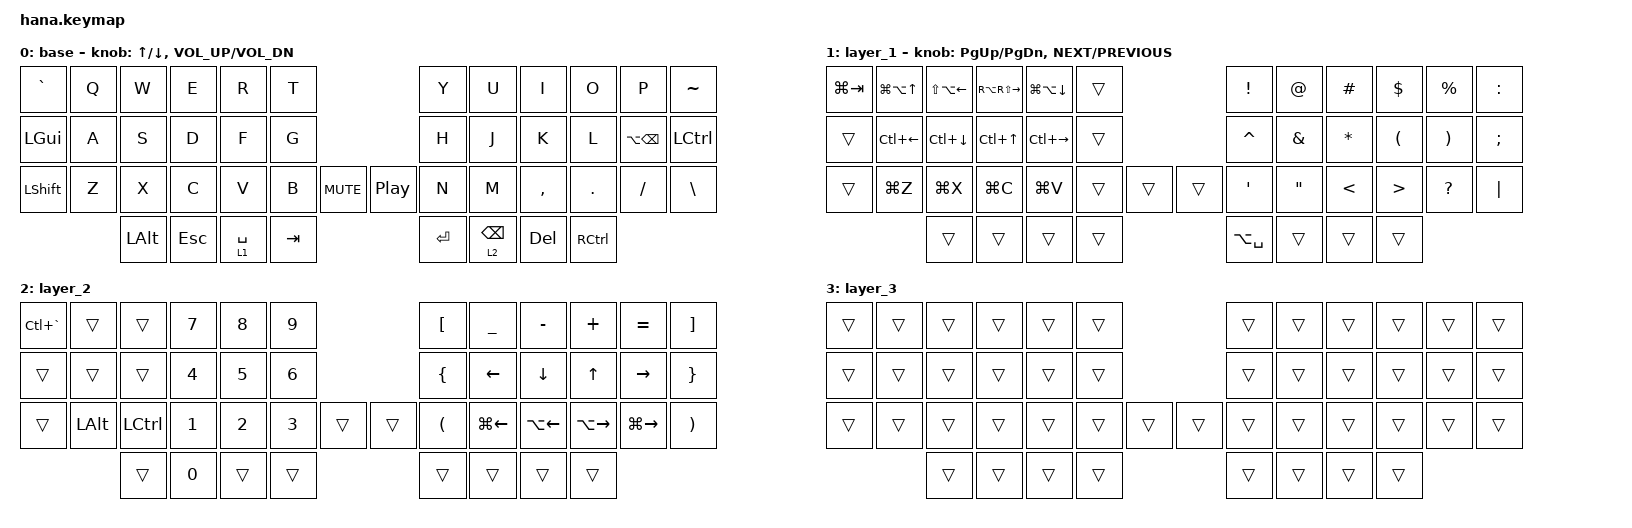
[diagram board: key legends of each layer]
#include <behaviors.dtsi>
#include <dt-bindings/zmk/keys.h>

/ {
    keymap {
        compatible = "zmk,keymap";

        default_layer {
            display-name = "base";
            sensor-bindings =
                <&inc_dec_kp UP_ARROW DOWN>,
                <&inc_dec_kp C_VOL_UP C_VOL_DN>;

            bindings = <
&kp GRAVE  &kp Q  &kp W     &kp E    &kp R        &kp T                          &kp Y      &kp U            &kp I       &kp O              &kp P         &kp TILDE
&kp LGUI   &kp A  &kp S     &kp D    &kp F        &kp G                          &kp H      &kp J            &kp K       &kp L              &kp LA(BSPC)  &kp LEFT_CONTROL
&kp LSHFT  &kp Z  &kp X     &kp C    &kp V        &kp B    &kp C_MUTE  &kp C_PP  &kp N      &kp M            &kp COMMA   &kp DOT            &kp FSLH      &kp BSLH
                  &kp LALT  &kp ESC  &lt 1 SPACE  &kp TAB                        &kp ENTER  &lt 2 BACKSPACE  &kp DELETE  &kp RIGHT_CONTROL
            >;
        };

        layer_1 {
            bindings = <
&kp LG(TAB)  &kp LG(LA(UP_ARROW))  &kp LS(LA(LEFT))  &kp RA(RS(RIGHT))  &kp LG(LA(DOWN))  &trans                  &kp EXCLAMATION   &kp AT_SIGN        &kp HASH       &kp DOLLAR            &kp PERCENT            &kp COLON
&trans       &kp LC(LEFT)          &kp LC(DOWN)      &kp LC(UP_ARROW)   &kp LC(RIGHT)     &trans                  &kp CARET         &kp AMPERSAND      &kp ASTERISK   &kp LEFT_PARENTHESIS  &kp RIGHT_PARENTHESIS  &kp SEMICOLON
&trans       &kp LG(Z)             &kp LG(X)         &kp LG(C)          &kp LG(V)         &trans  &trans  &trans  &kp SINGLE_QUOTE  &kp DOUBLE_QUOTES  &kp LESS_THAN  &kp GREATER_THAN      &kp QUESTION           &kp PIPE
                                   &trans            &trans             &trans            &trans                  &kp LA(SPACE)     &trans             &trans         &trans
            >;

            sensor-bindings =
                <&inc_dec_kp PAGE_UP PAGE_DOWN>,
                <&inc_dec_kp C_NEXT C_PREVIOUS>;
        };

        layer_2 {
            bindings = <
&kp LC(GRAVE)  &trans        &trans            &kp N7        &kp N8  &kp N9                  &kp LBKT              &kp UNDER     &kp MINUS     &kp PLUS       &kp EQUAL      &kp RBKT
&trans         &trans        &trans            &kp N4        &kp N5  &kp N6                  &kp LEFT_BRACE        &kp LEFT      &kp DOWN      &kp UP         &kp RIGHT      &kp RIGHT_BRACE
&trans         &kp LEFT_ALT  &kp LEFT_CONTROL  &kp N1        &kp N2  &kp N3  &trans  &trans  &kp LEFT_PARENTHESIS  &kp LG(LEFT)  &kp LA(LEFT)  &kp LA(RIGHT)  &kp LG(RIGHT)  &kp RIGHT_PARENTHESIS
                             &trans            &kp NUMBER_0  &trans  &trans                  &trans                &trans        &trans        &trans
            >;
        };

        layer_3 {
            bindings = <
&trans  &trans  &trans  &trans  &trans  &trans                  &trans  &trans  &trans  &trans  &trans  &trans
&trans  &trans  &trans  &trans  &trans  &trans                  &trans  &trans  &trans  &trans  &trans  &trans
&trans  &trans  &trans  &trans  &trans  &trans  &trans  &trans  &trans  &trans  &trans  &trans  &trans  &trans
                &trans  &trans  &trans  &trans                  &trans  &trans  &trans  &trans
            >;
        };
    };
};
